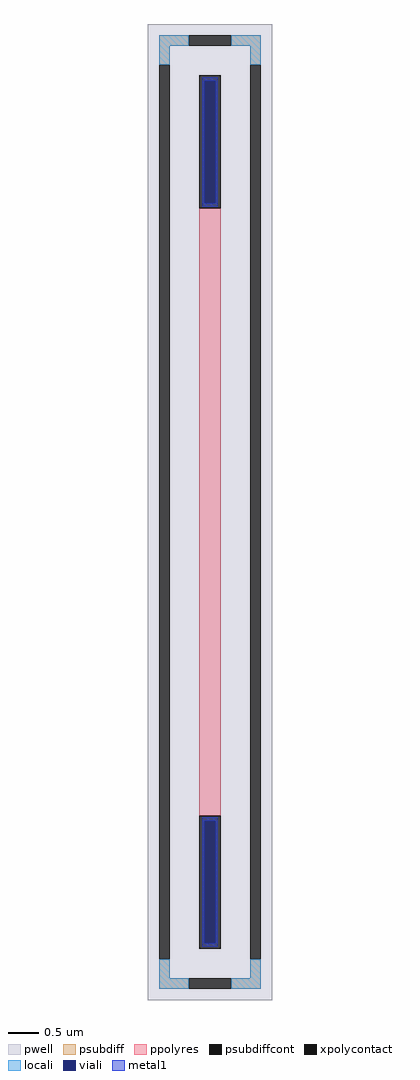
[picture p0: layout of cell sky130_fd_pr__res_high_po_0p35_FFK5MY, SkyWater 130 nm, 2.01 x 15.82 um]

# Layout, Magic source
magic
tech sky130A
magscale 1 2
<< pwell >>
rect -201 -1582 201 1582
<< psubdiff >>
rect -165 1512 -69 1546
rect 69 1512 165 1546
rect -165 1450 -131 1512
rect 131 1450 165 1512
rect -165 -1512 -131 -1450
rect 131 -1512 165 -1450
rect -165 -1546 -69 -1512
rect 69 -1546 165 -1512
<< psubdiffcont >>
rect -69 1512 69 1546
rect -165 -1450 -131 1450
rect 131 -1450 165 1450
rect -69 -1546 69 -1512
<< xpolycontact >>
rect -35 984 35 1416
rect -35 -1416 35 -984
<< ppolyres >>
rect -35 -984 35 984
<< locali >>
rect -165 1512 -69 1546
rect 69 1512 165 1546
rect -165 1450 -131 1512
rect 131 1450 165 1512
rect -165 -1512 -131 -1450
rect 131 -1512 165 -1450
rect -165 -1546 -69 -1512
rect 69 -1546 165 -1512
<< viali >>
rect -19 1001 19 1398
rect -19 -1398 19 -1001
<< metal1 >>
rect -25 1398 25 1410
rect -25 1001 -19 1398
rect 19 1001 25 1398
rect -25 989 25 1001
rect -25 -1001 25 -989
rect -25 -1398 -19 -1001
rect 19 -1398 25 -1001
rect -25 -1410 25 -1398
<< properties >>
string FIXED_BBOX -148 -1529 148 1529
string gencell sky130_fd_pr__res_high_po_0p35
string library sky130
string parameters w 0.350 l 10.0 m 1 nx 1 wmin 0.350 lmin 0.50 rho 319.8 val 10.25k dummy 0 dw 0.0 term 194.82 sterm 0.0 caplen 0 guard 1 glc 1 grc 1 gtc 1 gbc 1 compatible {sky130_fd_pr__res_high_po_0p35  sky130_fd_pr__res_high_po_0p69 sky130_fd_pr__res_high_po_1p41  sky130_fd_pr__res_high_po_2p85 sky130_fd_pr__res_high_po_5p73} snake 0 full_metal 1 wmax 0.350 vias 1 n_guard 0 hv_guard 0 viagb 0 viagt 0 viagl 0 viagr 0
<< end >>
